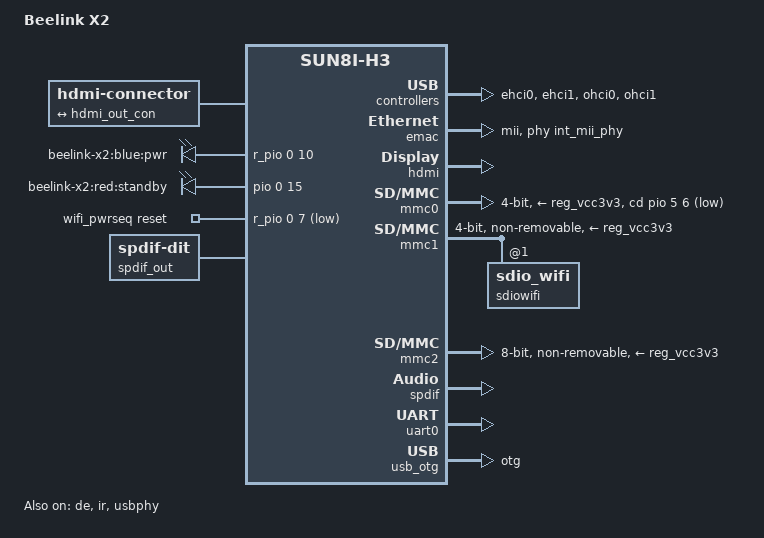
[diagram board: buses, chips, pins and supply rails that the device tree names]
/*
 * Copyright (C) 2017 Marcus Cooper <codekipper@gmail.com>
 *
 * This file is dual-licensed: you can use it either under the terms
 * of the GPL or the X11 license, at your option. Note that this dual
 * licensing only applies to this file, and not this project as a
 * whole.
 *
 *  a) This file is free software; you can redistribute it and/or
 *     modify it under the terms of the GNU General Public License as
 *     published by the Free Software Foundation; either version 2 of the
 *     License, or (at your option) any later version.
 *
 *     This file is distributed in the hope that it will be useful,
 *     but WITHOUT ANY WARRANTY; without even the implied warranty of
 *     MERCHANTABILITY or FITNESS FOR A PARTICULAR PURPOSE.  See the
 *     GNU General Public License for more details.
 *
 * Or, alternatively,
 *
 *  b) Permission is hereby granted, free of charge, to any person
 *     obtaining a copy of this software and associated documentation
 *     files (the "Software"), to deal in the Software without
 *     restriction, including without limitation the rights to use,
 *     copy, modify, merge, publish, distribute, sublicense, and/or
 *     sell copies of the Software, and to permit persons to whom the
 *     Software is furnished to do so, subject to the following
 *     conditions:
 *
 *     The above copyright notice and this permission notice shall be
 *     included in all copies or substantial portions of the Software.
 *
 *     THE SOFTWARE IS PROVIDED "AS IS", WITHOUT WARRANTY OF ANY KIND,
 *     EXPRESS OR IMPLIED, INCLUDING BUT NOT LIMITED TO THE WARRANTIES
 *     OF MERCHANTABILITY, FITNESS FOR A PARTICULAR PURPOSE AND
 *     NONINFRINGEMENT. IN NO EVENT SHALL THE AUTHORS OR COPYRIGHT
 *     HOLDERS BE LIABLE FOR ANY CLAIM, DAMAGES OR OTHER LIABILITY,
 *     WHETHER IN AN ACTION OF CONTRACT, TORT OR OTHERWISE, ARISING
 *     FROM, OUT OF OR IN CONNECTION WITH THE SOFTWARE OR THE USE OR
 *     OTHER DEALINGS IN THE SOFTWARE.
 */

/dts-v1/;
#include "sun8i-h3.dtsi"
#include "sunxi-common-regulators.dtsi"

#include <dt-bindings/gpio/gpio.h>
#include <dt-bindings/input/input.h>

/ {
	model = "Beelink X2";
	compatible = "roofull,beelink-x2", "allwinner,sun8i-h3";

	aliases {
		serial0 = &uart0;
		ethernet0 = &emac;
		ethernet1 = &sdiowifi;
	};

	chosen {
		stdout-path = "serial0:115200n8";
	};

	connector {
		compatible = "hdmi-connector";
		type = "a";

		port {
			hdmi_con_in: endpoint {
				remote-endpoint = <&hdmi_out_con>;
			};
		};
	};

	leds {
		compatible = "gpio-leds";

		blue {
			label = "beelink-x2:blue:pwr";
			gpios = <&r_pio 0 10 GPIO_ACTIVE_HIGH>; /* PL10 */
			default-state = "on";
		};

		red {
			label = "beelink-x2:red:standby";
			gpios = <&pio 0 15 GPIO_ACTIVE_HIGH>; /* PA15 */
		};
	};

	wifi_pwrseq: wifi_pwrseq {
		compatible = "mmc-pwrseq-simple";
		reset-gpios = <&r_pio 0 7 GPIO_ACTIVE_LOW>; /* PL7 */
		clocks = <&rtc 1>;
		clock-names = "ext_clock";
	};

	sound_spdif {
		compatible = "simple-audio-card";
		simple-audio-card,name = "On-board SPDIF";

		simple-audio-card,cpu {
			sound-dai = <&spdif>;
		};

		simple-audio-card,codec {
			sound-dai = <&spdif_out>;
		};
	};

	spdif_out: spdif-out {
		#sound-dai-cells = <0>;
		compatible = "linux,spdif-dit";
	};
};

&de {
	status = "okay";
};

&ehci0 {
	status = "okay";
};

&ehci1 {
	status = "okay";
};

&emac {
	phy-handle = <&int_mii_phy>;
	phy-mode = "mii";
	allwinner,leds-active-low;
	status = "okay";
};

&hdmi {
	status = "okay";
};

&hdmi_out {
	hdmi_out_con: endpoint {
		remote-endpoint = <&hdmi_con_in>;
	};
};

&ir {
	pinctrl-names = "default";
	pinctrl-0 = <&r_ir_rx_pin>;
	status = "okay";
};

&mmc0 {
	vmmc-supply = <&reg_vcc3v3>;
	bus-width = <4>;
	cd-gpios = <&pio 5 6 GPIO_ACTIVE_LOW>; /* PF6 */
	status = "okay";
};

&mmc1 {
	vmmc-supply = <&reg_vcc3v3>;
	vqmmc-supply = <&reg_vcc3v3>;
	mmc-pwrseq = <&wifi_pwrseq>;
	bus-width = <4>;
	non-removable;
	status = "okay";

	/*
	 * Explicitly define the sdio device, so that we can add an ethernet
	 * alias for it (which e.g. makes u-boot set a mac-address).
	 */
	sdiowifi: sdio_wifi@1 {
		reg = <1>;
	};
};

&mmc2 {
	pinctrl-names = "default";
	pinctrl-0 = <&mmc2_8bit_pins>;
	vmmc-supply = <&reg_vcc3v3>;
	bus-width = <8>;
	non-removable;
	cap-mmc-hw-reset;
	status = "okay";
};

&ohci0 {
	status = "okay";
};

&ohci1 {
	status = "okay";
};

&reg_usb0_vbus {
	gpio = <&r_pio 0 2 GPIO_ACTIVE_HIGH>; /* PL2 */
	status = "okay";
};

&spdif {
	pinctrl-names = "default";
	pinctrl-0 = <&spdif_tx_pin>;
	status = "okay";
};

&uart0 {
	pinctrl-names = "default";
	pinctrl-0 = <&uart0_pa_pins>;
	status = "okay";
};

&usb_otg {
	dr_mode = "otg";
	status = "okay";
};

&usbphy {
	/* USB VBUS is always on except for the OTG port */
	status = "okay";
	usb0_id_det-gpios = <&pio 0 7 GPIO_ACTIVE_HIGH>; /* PA07 */
	usb0_vbus-supply = <&reg_usb0_vbus>;
};
